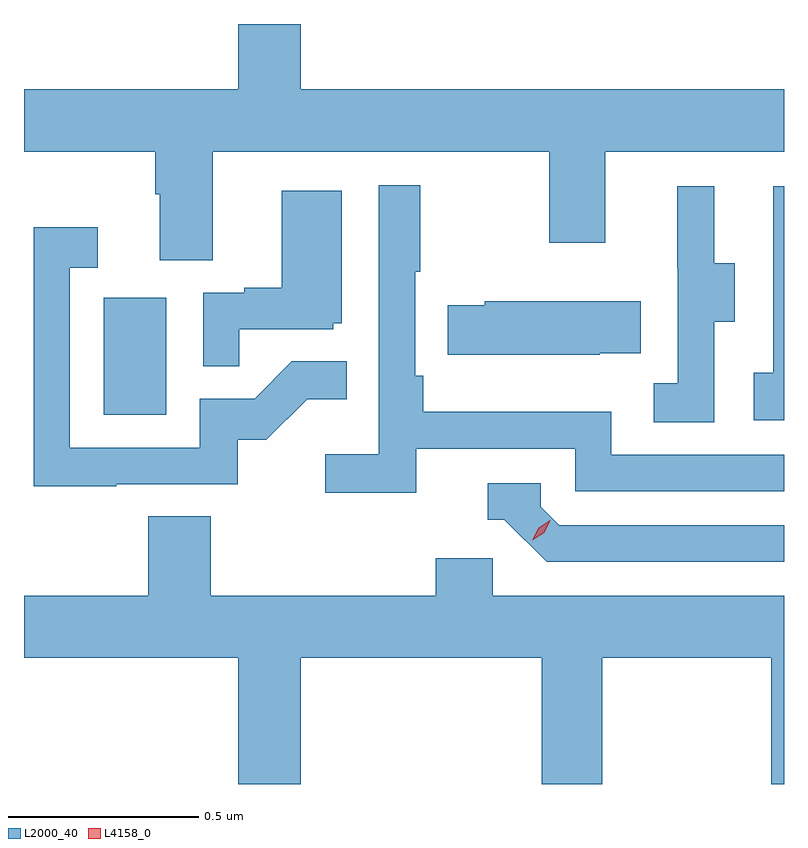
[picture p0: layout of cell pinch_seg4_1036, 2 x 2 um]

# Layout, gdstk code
import gdstk
lib = gdstk.Library(unit=1e-6, precision=1e-09)
def R(c, l, rs):  # rectangles x0, y0, x1, y1
    for r in rs: c.add(gdstk.rectangle(r[:2], r[2:], *l))
def P(c, l, *ps):  # polygons
    for p in ps: c.add(gdstk.Polygon(p, *l))
L2000_40 = (2000, 40)
L4158_0 = (4158, 0)

pinch_seg4_1036 = lib.new_cell('pinch_seg4_1036')
R(pinch_seg4_1036, L2000_40, [(823.994,784.14,824.158,784.447)])
P(pinch_seg4_1036, L2000_40, [(824.281,784.832),(825.166,784.832),(825.166,784.593),(825.313,784.593),(825.313,784.832),(825.784,784.832),(825.784,784.996),(824.512,784.996),(824.512,785.168),(824.348,785.168),(824.348,784.996),(823.784,784.996),(823.784,784.832),(824.129,784.832),(824.129,784.72),(824.141,784.72),(824.141,784.546),(824.281,784.546)],
  [(824.816,784.05),(825.234,784.05),(825.234,783.939),(825.784,783.939),(825.784,784.035),(825.33,784.035),(825.33,784.147),(824.834,784.147),(824.834,784.243),(824.814,784.243),(824.814,784.516),(824.827,784.516),(824.827,784.744),(824.718,784.744),(824.718,784.036),(824.577,784.036),(824.577,783.934),(824.816,783.934)],
  [(825.6,784.384),(825.655,784.384),(825.655,784.539),(825.601,784.539),(825.601,784.741),(825.503,784.741),(825.503,784.527),(825.504,784.527),(825.504,784.223),(825.441,784.223),(825.441,784.12),(825.6,784.12)],
  [(825.784,784.741),(825.756,784.741),(825.756,784.25),(825.705,784.25),(825.705,784.125),(825.784,784.125)],
  [(824.351,784.365),(824.598,784.365),(824.598,784.38),(824.62,784.38),(824.62,784.729),(824.462,784.729),(824.462,784.474),(824.363,784.474),(824.363,784.461),(824.256,784.461),(824.256,784.267),(824.351,784.267)],
  [(824.027,783.957),(824.346,783.957),(824.346,784.074),(824.422,784.074),(824.529,784.181),(824.633,784.181),(824.633,784.28),(824.489,784.28),(824.391,784.182),(824.247,784.182),(824.247,784.053),(823.905,784.053),(823.905,784.527),(823.978,784.527),(823.978,784.633),(823.809,784.633),(823.809,783.952),(824.027,783.952)],
  [(825.299,784.301),(825.407,784.301),(825.407,784.438),(824.997,784.438),(824.997,784.428),(824.899,784.428),(824.899,784.298),(825.299,784.298)],
  [(825.784,783.849),(825.192,783.849),(825.144,783.897),(825.144,783.96),(825.005,783.96),(825.005,783.864),(825.048,783.864),(825.159,783.753),(825.784,783.753)],
  [(824.512,783.5),(825.146,783.5),(825.146,783.168),(825.306,783.168),(825.306,783.5),(825.751,783.5),(825.751,783.168),(825.784,783.168),(825.784,783.664),(825.018,783.664),(825.018,783.762),(824.867,783.762),(824.867,783.664),(824.276,783.664),(824.276,783.872),(824.111,783.872),(824.111,783.664),(823.784,783.664),(823.784,783.5),(824.348,783.5),(824.348,783.168),(824.512,783.168)])
P(pinch_seg4_1036, L4158_0, [(825.122,783.81),(825.122,783.81),(825.138,783.842),(825.169,783.862),(825.169,783.862),(825.169,783.861),(825.153,783.829),(825.122,783.81)])

lib.write_gds('pinch_seg4_1036.gds')
